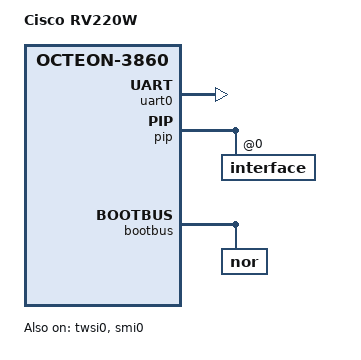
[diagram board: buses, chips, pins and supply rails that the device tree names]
// SPDX-License-Identifier: GPL-2.0-only
/*
 * Cisco RV220W conservative RAM-validation device tree.
 *
 * Only hardware established by U-Boot, stock modules, and successful
 * OpenWrt RAM boots is represented. Linux switch and reset-button control
 * remain disabled so the proven U-Boot configuration is retained.
 */

/include/ "octeon_3xxx.dtsi"
#include <dt-bindings/gpio/gpio.h>
#include <dt-bindings/input/input.h>

/ {
	model = "Cisco RV220W";
	compatible = "cisco,rv220w", "cavium,octeon-3860";

	chosen {
		stdout-path = "serial0:115200n8";
	};

	aliases {
		/* Retain both conventional aliases for userspace and early console naming. */
		uart0 = &uart0;
		serial0 = &uart0;
		pip = &pip;
		smi0 = &smi0;
		twsi0 = &twsi0;
	};

	/* U-Boot samples Octeon GPIO 1 and enters recovery when it is low. */
	rv220w-reset-keys {
		compatible = "gpio-keys";
		status = "disabled";

		reset {
			label = "reset/recovery";
			linux,code = <KEY_RESTART>;
			gpios = <&gpio 1 GPIO_ACTIVE_LOW>;
			debounce-interval = <60>;
		};
	};
};

&uart0 {
	/* CN5010 I/O/UART clock equals the verified 400 MHz core clock. */
	clock-frequency = <400000000>;
	status = "okay";
};

&twsi0 {
	status = "okay";
};

&smi0 {
	status = "okay";

	/*
	 * Confirmed independently in U-Boot and the stock mii/bcm5398 modules.
	 * Keep disabled until the exact BCM53115 CPU and user-port topology is
	 * validated for Linux B53/DSA.
	 */
	switch@1e {
		compatible = "brcm,bcm53115";
		reg = <0x1e>;
		status = "disabled";
	};
};

&pip {
	status = "okay";

	interface@0 {
		status = "okay";

		ethernet@0 {
			status = "okay";
		};

		ethernet@1 {
			status = "okay";
		};

		ethernet@2 {
			status = "okay";
		};
	};
};

/* The generic USB node hangs this board in octeon_usb_probe(). */
&usbn {
	status = "disabled";
};

/*
 * Reproduce the v1.3.0 BootBus arrangement exactly. The enabled inherited
 * nor@0,0 child is intentionally retained because hardware evidence showed it
 * also triggers Octeon's legacy phys_mapped_flash registration. That legacy
 * path reads U-Boot's live CS0 register and finds the true 0x1dc00000 base,
 * 32 MiB size, and x16 width. The redundant generic 0x1f400000 physmap probe
 * is accepted in this repaired baseline and remains read-only.
 */
&bootbus {
	status = "okay";

	/delete-node/ cavium,cs-config@0;
	/delete-node/ cavium,cs-config@4;
	/delete-node/ cavium,cs-config@5;
	/delete-node/ cavium,cs-config@6;
	/delete-node/ led-display@4,0;
	/delete-node/ compact-flash@5,0;

	nor@0,0 {
		status = "okay";
	};
};
